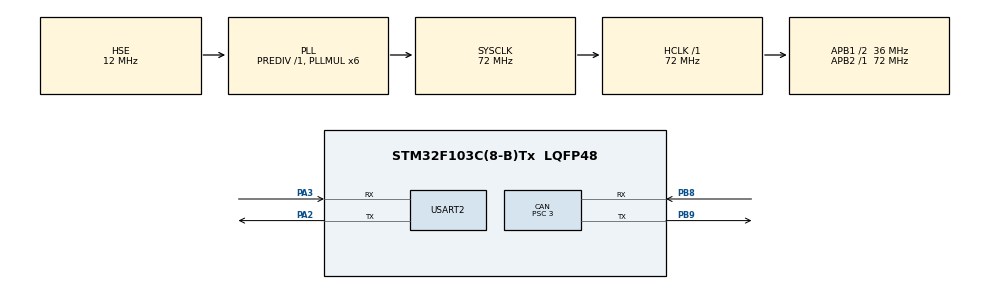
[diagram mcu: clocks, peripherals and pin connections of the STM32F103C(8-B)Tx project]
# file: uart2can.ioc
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CAN.ABOM=ENABLE
CAN.BS1=CAN_BS1_9TQ
CAN.BS2=CAN_BS2_2TQ
CAN.CalculateTimeBit=250
CAN.CalculateTimeQuantum=83.33333333333334
CAN.Prescaler=3
Dma.Request0=USART2_TX
Dma.USART2_TX.0.Direction=DMA_MEMORY_TO_PERIPH
Dma.USART2_TX.0.Instance=DMA1_Channel7
Dma.USART2_TX.0.MemDataAlignment=DMA_MDATAALIGN_BYTE
Dma.USART2_TX.0.MemInc=DMA_MINC_ENABLE
Dma.USART2_TX.0.Mode=DMA_NORMAL
Dma.USART2_TX.0.PeriphDataAlignment=DMA_PDATAALIGN_BYTE
Dma.USART2_TX.0.PeriphInc=DMA_PINC_DISABLE
Dma.USART2_TX.0.Priority=DMA_PRIORITY_LOW
Mcu.Family=STM32F1
Mcu.Name=STM32F103C(8-B)Tx
Mcu.Package=LQFP48
NVIC.CAN1_RX1_IRQn=true\:1\:0\:true\:false\:true\:true
NVIC.DMA1_Channel7_IRQn=true\:0\:0\:false\:false\:true\:false
NVIC.PriorityGroup=NVIC_PRIORITYGROUP_4
NVIC.USART2_IRQn=true\:2\:0\:true\:false\:true\:true
NVIC.USB_HP_CAN1_TX_IRQn=true\:3\:0\:true\:false\:true\:true
NVIC.USB_LP_CAN1_RX0_IRQn=true\:1\:0\:true\:false\:true\:true
PA13.Mode=Serial_Wire
PA13.Signal=SYS_JTMS-SWDIO
PA14.Mode=Serial_Wire
PA14.Signal=SYS_JTCK-SWCLK
PA2.Mode=Asynchronous
PA2.Signal=USART2_TX
PA3.Mode=Asynchronous
PA3.Signal=USART2_RX
PB8.Mode=Master
PB8.Signal=CAN_RX
PB9.Mode=Master
PB9.Signal=CAN_TX
PD0-OSC_IN.Mode=HSE-External-Oscillator
PD0-OSC_IN.Signal=RCC_OSC_IN
PD1-OSC_OUT.Mode=HSE-External-Oscillator
PD1-OSC_OUT.Signal=RCC_OSC_OUT
ProjectManager.HeapSize=0x200
ProjectManager.StackSize=0x400
ProjectManager.TargetToolchain=MDK-ARM V5
RCC.AHBFreq_Value=72000000
RCC.APB1CLKDivider=RCC_HCLK_DIV2
RCC.APB1Freq_Value=36000000
RCC.APB1TimFreq_Value=72000000
RCC.APB2Freq_Value=72000000
RCC.APB2TimFreq_Value=72000000
RCC.HCLKFreq_Value=72000000
RCC.HSE_VALUE=12000000
RCC.PLLMUL=RCC_PLL_MUL6
RCC.PLLSourceVirtual=RCC_PLLSOURCE_HSE
RCC.SYSCLKFreq_VALUE=72000000
RCC.SYSCLKSource=RCC_SYSCLKSOURCE_PLLCLK
RCC.USBFreq_Value=72000000
USART2.VirtualMode=VM_ASYNC
board=custom

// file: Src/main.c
/**
  ******************************************************************************
  * @file           : main.c
  * @brief          : Main program body
  ******************************************************************************
  ** This notice applies to any and all portions of this file
  * that are not between comment pairs USER CODE BEGIN and
  * USER CODE END. Other portions of this file, whether
  * inserted by the user or by software development tools
  * are owned by their respective copyright owners.
  *
  * COPYRIGHT(c) 2018 STMicroelectronics
  *
  * Redistribution and use in source and binary forms, with or without modification,
  * are permitted provided that the following conditions are met:
  *   1. Redistributions of source code must retain the above copyright notice,
  *      this list of conditions and the following disclaimer.
  *   2. Redistributions in binary form must reproduce the above copyright notice,
  *      this list of conditions and the following disclaimer in the documentation
  *      and/or other materials provided with the distribution.
  *   3. Neither the name of STMicroelectronics nor the names of its contributors
  *      may be used to endorse or promote products derived from this software
  *      without specific prior written permission.
  *
  * THIS SOFTWARE IS PROVIDED BY THE COPYRIGHT HOLDERS AND CONTRIBUTORS "AS IS"
  * AND ANY EXPRESS OR IMPLIED WARRANTIES, INCLUDING, BUT NOT LIMITED TO, THE
  * IMPLIED WARRANTIES OF MERCHANTABILITY AND FITNESS FOR A PARTICULAR PURPOSE ARE
  * DISCLAIMED. IN NO EVENT SHALL THE COPYRIGHT HOLDER OR CONTRIBUTORS BE LIABLE
  * FOR ANY DIRECT, INDIRECT, INCIDENTAL, SPECIAL, EXEMPLARY, OR CONSEQUENTIAL
  * DAMAGES (INCLUDING, BUT NOT LIMITED TO, PROCUREMENT OF SUBSTITUTE GOODS OR
  * SERVICES; LOSS OF USE, DATA, OR PROFITS; OR BUSINESS INTERRUPTION) HOWEVER
  * CAUSED AND ON ANY THEORY OF LIABILITY, WHETHER IN CONTRACT, STRICT LIABILITY,
  * OR TORT (INCLUDING NEGLIGENCE OR OTHERWISE) ARISING IN ANY WAY OUT OF THE USE
  * OF THIS SOFTWARE, EVEN IF ADVISED OF THE POSSIBILITY OF SUCH DAMAGE.
  *
  ******************************************************************************
  */
#include "main.h"
#include "stm32f1xx_hal.h"

CAN_HandleTypeDef hcan;
UART_HandleTypeDef huart2;
DMA_HandleTypeDef hdma_usart2_tx;

/* USER CODE BEGIN PV */
/* Private variables ---------------------------------------------------------*/
uint8_t hUartRxBuf[20];
uint8_t hUartTxBuf[20];
CanRxMsgTypeDef hCanRxMsg;
CanTxMsgTypeDef hCanTxMsg;
__IO uint8_t uart_ready_for_next = 0;
/* USER CODE END PV */

void SystemClock_Config(void);
static void MX_GPIO_Init(void);
static void MX_DMA_Init(void);
static void MX_CAN_Init(void);
static void MX_USART2_UART_Init(void);

/* USER CODE BEGIN PFP */
/* Private function prototypes -----------------------------------------------*/

/* USER CODE END PFP */

int main(void)
{
  /* USER CODE BEGIN 1 */
  HAL_StatusTypeDef ret;
  /* USER CODE END 1 */

  /* MCU Configuration----------------------------------------------------------*/

  /* Reset of all peripherals, Initializes the Flash interface and the Systick. */
  HAL_Init();

  /* Configure the system clock */
  SystemClock_Config();

  /* Initialize all configured peripherals */
  MX_GPIO_Init();
  MX_DMA_Init();
  MX_CAN_Init();
  MX_USART2_UART_Init();
  /* USER CODE BEGIN 2 */
  CAN_FilterConfTypeDef sFilterConfig;
  sFilterConfig.FilterNumber = 0;
  sFilterConfig.FilterMode = CAN_FILTERMODE_IDMASK;
  sFilterConfig.FilterScale = CAN_FILTERSCALE_32BIT;
  sFilterConfig.FilterIdHigh = 0x0000;
  sFilterConfig.FilterIdLow = 0x0000;
  sFilterConfig.FilterMaskIdHigh = 0;
  sFilterConfig.FilterMaskIdLow = 0;
  sFilterConfig.FilterFIFOAssignment = CAN_FIFO0;
  sFilterConfig.FilterActivation = ENABLE;
  sFilterConfig.BankNumber = 14;
  if (HAL_CAN_ConfigFilter(&hcan, &sFilterConfig) != HAL_OK)
  {
    Error_Handler();
  }
  hcan.pRxMsg = &hCanRxMsg;
  hcan.pTxMsg = &hCanTxMsg;
  ret = HAL_CAN_Receive_IT(&hcan, CAN_FIFO0);
  if (ret != HAL_OK)
  {
    Error_Handler();
  }
  uart_ready_for_next = 1;
  /* USER CODE END 2 */

  /* Infinite loop */

  while (1)
  {

  /* USER CODE BEGIN 3 */
    if (1 == uart_ready_for_next) {
      HAL_UART_Receive_IT(&huart2, hUartRxBuf, 1);
      uart_ready_for_next = 0;
    }
  }
  /* USER CODE END 3 */

}

void SystemClock_Config(void)
{

  RCC_OscInitTypeDef RCC_OscInitStruct;
  RCC_ClkInitTypeDef RCC_ClkInitStruct;

    /**Initializes the CPU, AHB and APB busses clocks
    */
  RCC_OscInitStruct.OscillatorType = RCC_OSCILLATORTYPE_HSE;
  RCC_OscInitStruct.HSEState = RCC_HSE_ON;
  RCC_OscInitStruct.HSEPredivValue = RCC_HSE_PREDIV_DIV1;
  RCC_OscInitStruct.HSIState = RCC_HSI_ON;
  RCC_OscInitStruct.PLL.PLLState = RCC_PLL_ON;
  RCC_OscInitStruct.PLL.PLLSource = RCC_PLLSOURCE_HSE;
  RCC_OscInitStruct.PLL.PLLMUL = RCC_PLL_MUL6;
  if (HAL_RCC_OscConfig(&RCC_OscInitStruct) != HAL_OK)
  {
    _Error_Handler(__FILE__, __LINE__);
  }

    /**Initializes the CPU, AHB and APB busses clocks
    */
  RCC_ClkInitStruct.ClockType = RCC_CLOCKTYPE_HCLK|RCC_CLOCKTYPE_SYSCLK
                              |RCC_CLOCKTYPE_PCLK1|RCC_CLOCKTYPE_PCLK2;
  RCC_ClkInitStruct.SYSCLKSource = RCC_SYSCLKSOURCE_PLLCLK;
  RCC_ClkInitStruct.AHBCLKDivider = RCC_SYSCLK_DIV1;
  RCC_ClkInitStruct.APB1CLKDivider = RCC_HCLK_DIV2;
  RCC_ClkInitStruct.APB2CLKDivider = RCC_HCLK_DIV1;

  if (HAL_RCC_ClockConfig(&RCC_ClkInitStruct, FLASH_LATENCY_2) != HAL_OK)
  {
    _Error_Handler(__FILE__, __LINE__);
  }

    /**Configure the Systick interrupt time
    */
  HAL_SYSTICK_Config(HAL_RCC_GetHCLKFreq()/1000);

    /**Configure the Systick
    */
  HAL_SYSTICK_CLKSourceConfig(SYSTICK_CLKSOURCE_HCLK);

  /* SysTick_IRQn interrupt configuration */
  HAL_NVIC_SetPriority(SysTick_IRQn, 0, 0);
}

/* CAN init function */
static void MX_CAN_Init(void)
{
  hcan.Instance = CAN1;
  hcan.Init.Prescaler = 3;
  hcan.Init.Mode = CAN_MODE_NORMAL;
  hcan.Init.SJW = CAN_SJW_1TQ;
  hcan.Init.BS1 = CAN_BS1_9TQ;
  hcan.Init.BS2 = CAN_BS2_2TQ;
  hcan.Init.TTCM = DISABLE;
  hcan.Init.ABOM = ENABLE;
  hcan.Init.AWUM = DISABLE;
  hcan.Init.NART = DISABLE;
  hcan.Init.RFLM = DISABLE;
  hcan.Init.TXFP = DISABLE;
  if (HAL_CAN_Init(&hcan) != HAL_OK)
  {
    _Error_Handler(__FILE__, __LINE__);
  }
}

/* USART2 init function */
static void MX_USART2_UART_Init(void)
{

  huart2.Instance = USART2;
  huart2.Init.BaudRate = 115200;
  huart2.Init.WordLength = UART_WORDLENGTH_8B;
  huart2.Init.StopBits = UART_STOPBITS_1;
  huart2.Init.Parity = UART_PARITY_NONE;
  huart2.Init.Mode = UART_MODE_TX_RX;
  huart2.Init.HwFlowCtl = UART_HWCONTROL_NONE;
  huart2.Init.OverSampling = UART_OVERSAMPLING_16;
  if (HAL_UART_Init(&huart2) != HAL_OK)
  {
    _Error_Handler(__FILE__, __LINE__);
  }

}

static void MX_DMA_Init(void)
{
  /* DMA controller clock enable */
  __HAL_RCC_DMA1_CLK_ENABLE();

  /* DMA interrupt init */
  /* DMA1_Channel7_IRQn interrupt configuration */
  HAL_NVIC_SetPriority(DMA1_Channel7_IRQn, 0, 0);
  HAL_NVIC_EnableIRQ(DMA1_Channel7_IRQn);

}

/** Configure pins as
        * Analog
        * Input
        * Output
        * EVENT_OUT
        * EXTI
*/
static void MX_GPIO_Init(void)
{

  /* GPIO Ports Clock Enable */
  __HAL_RCC_GPIOD_CLK_ENABLE();
  __HAL_RCC_GPIOA_CLK_ENABLE();
  __HAL_RCC_GPIOB_CLK_ENABLE();

}

/* USER CODE BEGIN 4 */
void HAL_CAN_RxCpltCallback(CAN_HandleTypeDef* hcan)
{
  HAL_StatusTypeDef ret;
  CanRxMsgTypeDef *pRxMsg = hcan->pRxMsg;
  uint32_t i;

  if ((CAN_ID_STD == pRxMsg->IDE) && (CAN_RTR_DATA == pRxMsg->RTR))
  {
    hUartTxBuf[0] = 0xB7;
    hUartTxBuf[1] = 0xB6;
    hUartTxBuf[2] = (pRxMsg->StdId >> 8) & 0xFF;
    hUartTxBuf[3] = pRxMsg->StdId & 0xFF;
    hUartTxBuf[4] = pRxMsg->DLC;
    for (i=0;i<pRxMsg->DLC;i++)
    {
      hUartTxBuf[5+i] = pRxMsg->Data[i];
    }
    ret = HAL_UART_Transmit_DMA(&huart2, hUartTxBuf, pRxMsg->DLC + 5);
    if (ret != HAL_OK)
    {
      Error_Handler();
    }
  }

	ret = HAL_CAN_Receive_IT(hcan, CAN_FIFO0);
	if (ret != HAL_OK)
	{
		Error_Handler();
	}
}

void HAL_UART_TxCpltCallback(UART_HandleTypeDef *huart)
{
  huart->gState = HAL_UART_STATE_READY;
}

void HAL_UART_RxCpltCallback(UART_HandleTypeDef *huart)
{
  static uint8_t state_mach;
  static uint32_t index;
  uint8_t data;

  data = hUartRxBuf[0];
  if (0 == state_mach) {
    if (0xB7U == data)
      state_mach = 1;
  } else if (1 == state_mach) {
    if (0xB6U == data)
      state_mach = 2;
  } else if (2 == state_mach) {
    hCanTxMsg.StdId = ((uint32_t)data) << 8;
    state_mach = 3;
  } else if (3 == state_mach) {
    hCanTxMsg.StdId |= (uint32_t)data;
    state_mach = 4;
  } else if (4 == state_mach) {
    if (data > 8)
      state_mach = 0;
    else {
      hCanTxMsg.DLC = data;
      state_mach = 5;
      index = 0;
    }
  } else if (5 == state_mach) {
    hCanTxMsg.Data[index++] = data;
    if (hCanTxMsg.DLC <= index) {
      hCanTxMsg.IDE = CAN_ID_STD;
      hCanTxMsg.RTR = CAN_RTR_DATA;
      state_mach = 0;
      HAL_CAN_Transmit_IT(&hcan);
    }
  }
  uart_ready_for_next = 1;
}
/* USER CODE END 4 */

void _Error_Handler(char *file, int line)
{
  while(1)
  {
  }
}

/************************ (C) COPYRIGHT STMicroelectronics *****END OF FILE****/
